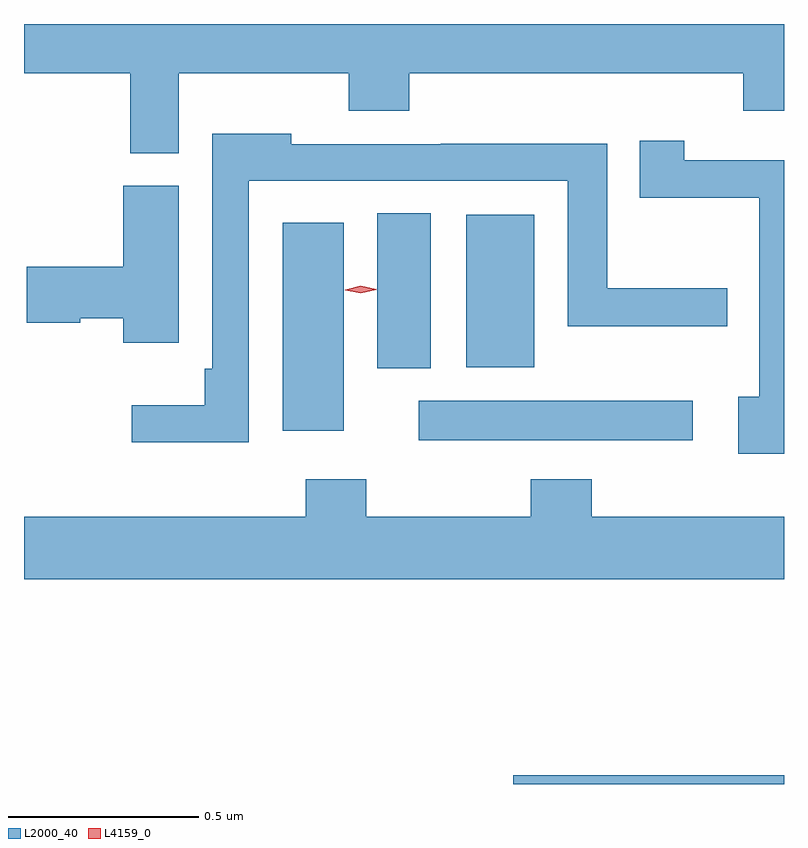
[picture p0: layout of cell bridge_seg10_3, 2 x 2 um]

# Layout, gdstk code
import gdstk
lib = gdstk.Library(unit=1e-6, precision=1e-09)
def R(c, l, rs):  # rectangles x0, y0, x1, y1
    for r in rs: c.add(gdstk.rectangle(r[:2], r[2:], *l))
def P(c, l, *ps):  # polygons
    for p in ps: c.add(gdstk.Polygon(p, *l))
L2000_40 = (2000, 40)
L4159_0 = (4159, 0)

bridge_seg10_3 = lib.new_cell('bridge_seg10_3')
R(bridge_seg10_3, L2000_40, [(1080.347,1250.493,1081.06,1250.516), (1080.099,1251.398,1080.82,1251.502), (1079.741,1251.423,1079.902,1251.97), (1079.99,1251.587,1080.13,1251.995), (1080.224,1251.59,1080.403,1251.991)])
P(bridge_seg10_3, L2000_40, [(1079.467,1252.364),(1079.914,1252.364),(1079.914,1252.265),(1080.074,1252.265),(1080.074,1252.364),(1080.953,1252.364),(1080.953,1252.265),(1081.06,1252.265),(1081.06,1252.493),(1079.06,1252.493),(1079.06,1252.364),(1079.339,1252.364),(1079.339,1252.153),(1079.467,1252.153)],
  [(1079.652,1252.08),(1080.491,1252.08),(1080.491,1251.698),(1080.91,1251.698),(1080.91,1251.798),(1080.595,1251.798),(1080.595,1252.178),(1080.157,1252.178),(1080.157,1252.176),(1079.763,1252.176),(1079.763,1252.204),(1079.556,1252.204),(1079.556,1251.586),(1079.536,1251.586),(1079.536,1251.49),(1079.343,1251.49),(1079.343,1251.392),(1079.652,1251.392)],
  [(1081.06,1252.135),(1080.798,1252.135),(1080.798,1252.186),(1080.68,1252.186),(1080.68,1252.036),(1080.995,1252.036),(1080.995,1251.512),(1080.939,1251.512),(1080.939,1251.362),(1081.06,1251.362)],
  [(1079.467,1252.068),(1079.321,1252.068),(1079.321,1251.854),(1079.067,1251.854),(1079.067,1251.707),(1079.208,1251.707),(1079.208,1251.719),(1079.321,1251.719),(1079.321,1251.654),(1079.467,1251.654)],
  [(1081.06,1251.196),(1080.554,1251.196),(1080.554,1251.295),(1080.394,1251.295),(1080.394,1251.196),(1079.961,1251.196),(1079.961,1251.295),(1079.801,1251.295),(1079.801,1251.196),(1079.06,1251.196),(1079.06,1251.032),(1081.06,1251.032)])
P(bridge_seg10_3, L4159_0, [(1079.946,1251.784),(1079.905,1251.793),(1079.905,1251.793),(1079.905,1251.794),(1079.946,1251.804),(1079.987,1251.795),(1079.987,1251.794),(1079.987,1251.794)])

lib.write_gds('bridge_seg10_3.gds')
